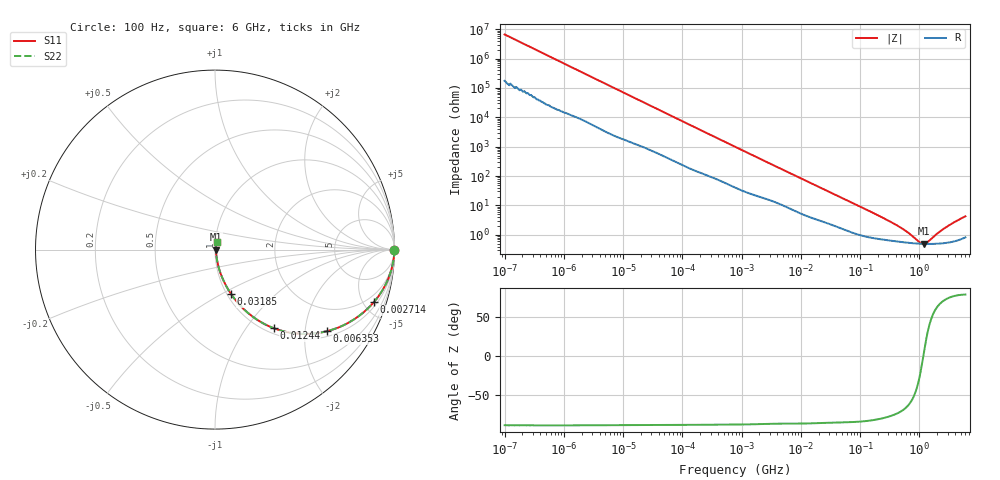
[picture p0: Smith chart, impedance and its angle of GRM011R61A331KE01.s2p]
!Murata Part Number: GRM011R61A331KE01
!These Parameters are Measured in Series Mode Connection
!Data Generated on Mar 30, 2021
!  o--ll--o
!Port1  Port2
!  o------o
!Operation Temp=25[degC], DC Bias Voltage=0[V]
!Freq. Start=100[Hz] Stop=6[GHz] 401[Steps]
# Hz S RI R 50
!Freq.(Hz) S11(Real) S11(Imag) S21(Real) S21(Imag) S12(Real) S12(Imag) S22(Real) S22(Imag)
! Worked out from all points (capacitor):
!   401 points, 100 Hz to 6 GHz, reference 50 ohm
!   read as one part in series: C = 239 pF near 109 Hz
!   lowest |Z| = 495 mohm at 1.197 GHz (marker M1)
!   series resonance near 1.169 GHz, so ESL is about 77 pH
!   S11 on the Smith chart (normalised r, x): 100 Hz: open; 2.714 MHz: 1.32, -5.88; 6.353 MHz: 1.16, -2.60; 12.44 MHz: 1.09, -1.36; 31.85 MHz: 1.05, -0.55; 6 GHz: 1.02, +0.08
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100  1 -1.51e-05  4e-07 1.51e-05  4e-07 1.51e-05  1 -1.51e-05
656  1 -9.65e-05  2e-06 9.65e-05  2e-06 9.65e-05  1 -9.65e-05
2008  1 -0.000291  7.1e-06 0.000291  7.1e-06 0.000291  1 -0.000291
40335  0.9998 -0.00556  0.000206 0.00556  0.000206 0.00556  0.9998 -0.00556
241822  0.9978 -0.0321  0.00219 0.0321  0.00219 0.0321  0.9978 -0.0321
774597  0.9861 -0.0982  0.0139 0.0982  0.0139 0.0982  0.9861 -0.0982
1585629  0.9528 -0.1902  0.0472 0.1902  0.0472 0.1902  0.9528 -0.1902
2713602  0.8839 -0.294  0.1161 0.294  0.1161 0.294  0.8839 -0.294
4060267  0.7868 -0.3807  0.2132 0.3807  0.2132 0.3807  0.7868 -0.3807
6353432  0.6226 -0.4549  0.3774 0.4549  0.3774 0.4549  0.6226 -0.4549
8692127  0.483 -0.4696  0.517 0.4696  0.517 0.4696  0.483 -0.4696
1.243624e7  0.3279 -0.4382  0.6721 0.4382  0.6721 0.4382  0.3279 -0.4382
1.555665e7  0.2464 -0.3983  0.7536 0.3983  0.7536 0.3983  0.2464 -0.3983
3.184506e7  0.0885 -0.246  0.9115 0.246  0.9115 0.246  0.0885 -0.246
8.918374e7  0.0204 -0.0994  0.9796 0.0994  0.9796 0.0994  0.0204 -0.0994
3.124326e8  0.00717 -0.0281  0.9928 0.0281  0.9928 0.0281  0.00717 -0.0281
5.847788e8  0.00561 -0.0125  0.9944 0.0125  0.9944 0.0125  0.00561 -0.0125
1.000774e9  0.00499 -0.00265  0.995 0.00265  0.995 0.00265  0.00499 -0.00265
1.197065e9  0.00491 0.000403  0.9951 -0.000403  0.9951 -0.000403  0.00491 0.000403
1.369159e9  0.00489 0.00271  0.9951 -0.00271  0.9951 -0.00271  0.00489 0.00271
2.802721e9  0.00555 0.017  0.9944 -0.017  0.9944 -0.017  0.00555 0.017
6e9  0.00985 0.0413  0.9902 -0.0413  0.9902 -0.0413  0.00985 0.0413
